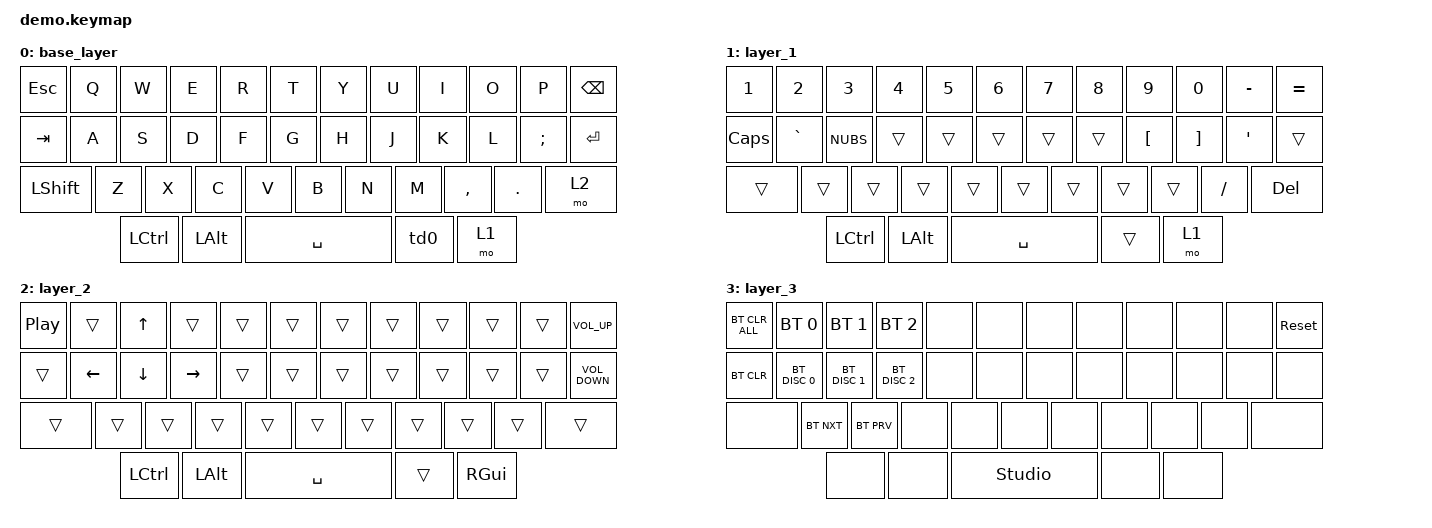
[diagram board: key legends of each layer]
#include <behaviors.dtsi>
#include <dt-bindings/zmk/keys.h>
#include <dt-bindings/zmk/bt.h>


/ {
behaviors {
        td0: tap_dance_0 {
            compatible = "zmk,behavior-tap-dance";
            #binding-cells = <0>;
            tapping-term-ms = <200>;
            bindings = <&kp RALT>, <&mo 3>;
        };
    };
   
    keymap {
        compatible = "zmk,keymap";
            
        base_layer {
            display-name = "base_layer";
            bindings = < 
                &kp ESC     &kp Q     &kp W     &kp E     &kp R     &kp T     &kp Y     &kp U     &kp I     &kp O     &kp P             &kp BACKSPACE
                &kp TAB     &kp A     &kp S     &kp D     &kp F     &kp G     &kp H     &kp J     &kp K     &kp L     &kp SEMICOLON     &kp RET
                &kp LSHIFT     &kp Z     &kp X     &kp C     &kp V     &kp B     &kp N     &kp M     &kp COMMA     &kp PERIOD     &mo 2
                                &kp LCTRL     &kp LALT                &kp SPACE               &td0     &mo 1
            >;
        }; 
        
        layer_1 {
            display-name = "layer_1";
            bindings = <
                &kp N1     &kp N2     &kp N3     &kp N4     &kp N5     &kp N6     &kp N7     &kp N8     &kp N9     &kp N0     &kp MINUS          &kp EQUAL
                &kp CAPS   &kp GRAVE  &kp NUBS   &trans     &trans     &trans     &trans     &trans     &kp LEFT_BRACKET      &kp RIGHT_BRACKET  &kp SINGLE_QUOTE  &trans
                &trans        &trans     &trans     &trans     &trans     &trans     &trans     &trans     &trans     &kp SLASH     &kp DELETE
                                &kp LCTRL     &kp LALT               &kp SPACE                 &trans     &mo 1
            >;
        };  
        
        layer_2 {
            display-name = "layer_2";
            bindings = <
                &kp C_PLAY_PAUSE     &trans     &kp UP_ARROW     &trans     &trans     &trans     &trans     &trans     &trans     &trans     &trans     &kp C_VOLUME_UP
                &trans     &kp LEFT_ARROW     &kp DOWN_ARROW     &kp RIGHT_ARROW       &trans     &trans     &trans     &trans     &trans     &trans     &trans     &kp C_VOLUME_DOWN
                &trans        &trans     &trans     &trans     &trans     &trans     &trans     &trans     &trans     &trans     &trans
                                &kp LCTRL     &kp LALT               &kp SPACE                 &trans     &kp RIGHT_GUI
            >;
        };

        layer_3 {
            display-name = "layer_3";
            bindings = <
                &bt BT_CLR_ALL     &bt BT_SEL 0     &bt BT_SEL 1     &bt BT_SEL 2     &none     &none     &none     &none     &none     &none     &none     &sys_reset
                &bt BT_CLR      &bt BT_DISC 0    &bt BT_DISC 1    &bt BT_DISC 2    &none     &none     &none     &none     &none     &none     &none     &none
                &none             &bt BT_NXT       &bt BT_PRV       &none     &none     &none     &none     &none     &none     &none     &none
                                &none         &none                  &studio_unlock                     &none      &none
            >;
        };

        extra_layer_4 {
            status = "reserved";
        };
        
        extra_layer_5 {
            status = "reserved";
        };
     };
};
